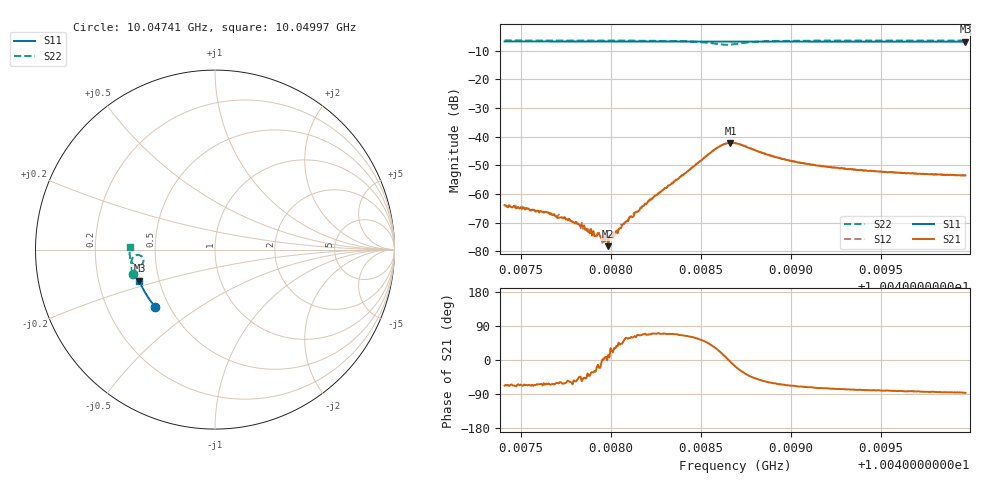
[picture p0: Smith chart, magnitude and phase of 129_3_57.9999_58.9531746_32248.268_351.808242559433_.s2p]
#  HZ  S  RI  R  50.00
! Rohde & Schwarz Vector Network Analyzer
! Rohde-Schwarz,ZNB20-2Port,1311601062101988,3.16
! Created: UTC 3/21/2024, 12:56:03 AM
! freq[Hz]  re:S11  im:S11  re:S21  im:S21  re:S12  im:S12  re:S22  im:S22
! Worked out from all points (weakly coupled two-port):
!   401 points, 10.04741 GHz to 10.04997 GHz, reference 50 ohm
!   highest |S21| = -42.11 dB at 10.04866 GHz (marker M1); lowest = -78.1 dB at 10.04799 GHz (marker M2)
!   lowest |S11| = -6.8 dB at 10.04997 GHz (marker M3), VSWR 2.67, Z = 19.3 - j8.48 ohm
!   |S11| at or under -10 dB: nowhere
!   |S22| runs from -7.9 to -6.4 dB; largest |S21 - S12| = 0.00054
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1.004741e10  -0.3334 -0.3171  0.000245 -0.000595  0.000294 -0.000535  -0.4585 -0.1365
1.0047513e10  -0.3381 -0.312  0.000217 -0.000537  0.00023 -0.000546  -0.4602 -0.1295
1.0047647e10  -0.3438 -0.3053  0.00021 -0.000432  0.000253 -0.000391  -0.4627 -0.1198
1.0047839e10  -0.3517 -0.2952  0.000163 -0.000241  0.000233 -0.000218  -0.465 -0.1054
1.0047909e10  -0.3546 -0.2915  0.000163 -9.13e-05  0.000161 -0.000114  -0.4659 -0.1
1.0047935e10  -0.3555 -0.2902  0.000189 -7.14e-05  0.000205 -5.53e-05  -0.4662 -0.0979
1.0047954e10  -0.3564 -0.2893  0.000181 5.65e-06  0.000135 2.19e-06  -0.4663 -0.0964
1.0047967e10  -0.3569 -0.2885  0.000148 1.8e-05  0.000172 1.03e-05  -0.4664 -0.0953
1.0047973e10  -0.3572 -0.2881  0.000198 2.94e-05  0.000192 5.48e-05  -0.4665 -0.0947
1.0047986e10  -0.3575 -0.2875  0.00012 2.92e-05  0.000172 4.34e-05  -0.4665 -0.0936
1.0047999e10  -0.3582 -0.2869  0.00015 9.03e-05  0.000161 7.22e-05  -0.4666 -0.0927
1.0048005e10  -0.3584 -0.2865  0.000175 7.86e-05  0.000163 9.17e-05  -0.4666 -0.092
1.0048076e10  -0.3612 -0.2828  0.000189 0.000254  0.000176 0.000245  -0.467 -0.0859
1.0048267e10  -0.3686 -0.2724  0.000344 0.000997  0.000287 0.00103  -0.4662 -0.0667
1.0048574e10  -0.3794 -0.2552  0.00491 0.00331  0.00472 0.00364  -0.421 -0.031
1.0048626e10  -0.381 -0.2525  0.00717 0.0017  0.00708 0.00211  -0.402 -0.0467
1.0048664e10  -0.3821 -0.2505  0.00781 -0.000659  0.00786 -0.000135  -0.3994 -0.0678
1.0048689e10  -0.3832 -0.2493  0.00742 -0.00217  0.00758 -0.00167  -0.4054 -0.0801
1.004892e10  -0.3913 -0.2365  0.00203 -0.00389  0.00227 -0.00377  -0.4617 -0.074
1.0049118e10  -0.3978 -0.225  0.001 -0.0031  0.00116 -0.00308  -0.4713 -0.052
1.0049546e10  -0.4103 -0.1995  0.000376 -0.0024  0.000509 -0.00238  -0.4762 -0.016
1.0049968e10  -0.421 -0.1739  0.000121 -0.00212  0.00024 -0.00211  -0.4763 0.0147
